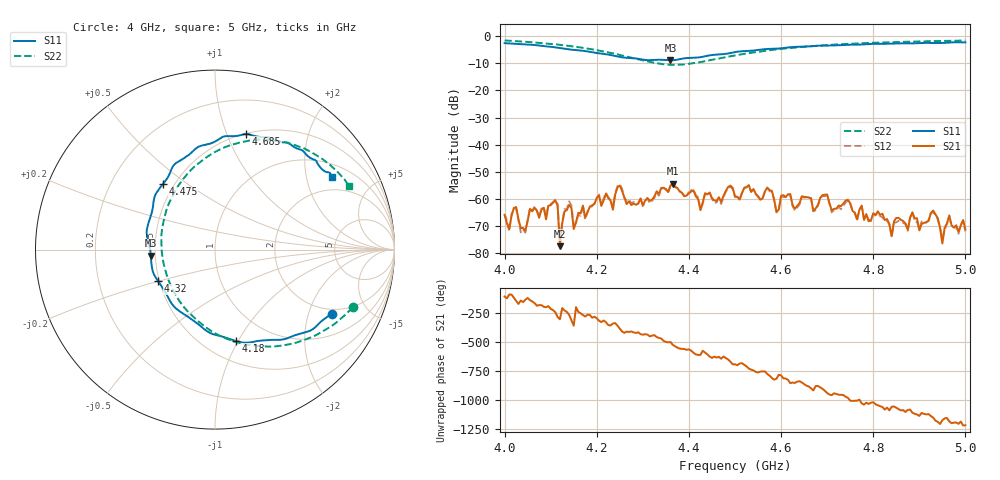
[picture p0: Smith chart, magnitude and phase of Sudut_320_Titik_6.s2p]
# Hz S RI R 50
! CMT, C1220, 16058040, 17.2.0/1
! Date: 15/08/2018 12:14:18
! Data: Format (Calibration Info)
! Freq  S11: Re/Im (F2)  S21: Re/Im (F2)  S12: Re/Im (F2)  S22: Re/Im (F2)
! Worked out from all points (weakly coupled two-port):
!   201 points, 4 GHz to 5 GHz, reference 50 ohm
!   highest |S21| = -54.32 dB at 4.365 GHz (marker M1); lowest = -77.3 dB at 4.12 GHz (marker M2)
!   lowest |S11| = -8.9 dB at 4.36 GHz (marker M3), VSWR 2.12, Z = 23.6 - j1.88 ohm
!   |S11| at or under -10 dB: nowhere
!   |S22| runs from -10.6 to -1.6 dB; largest |S21 - S12| = 0.00015
!   S11 on the Smith chart (normalised r, x): 4 GHz: 1.80, -2.86; 4.18 GHz: 0.70, -0.98; 4.32 GHz: 0.49, -0.20; 4.475 GHz: 0.44, +0.40; 4.685 GHz: 0.50, +1.17; 5 GHz: 1.46, +2.85
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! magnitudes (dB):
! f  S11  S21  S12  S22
! 4 GHz  -2.6  -65.8  -65.4  -1.6
! 4.045 GHz  -3.0  -71.7  -72.4  -2.1
! 4.055 GHz  -3.1  -63.6  -63.5  -2.2
! 4.11 GHz  -4.1  -60.5  -60.2  -3.0
! 4.12 GHz  -4.4  -77.3  -75.7  -3.2
! 4.13 GHz  -4.6  -64.5  -63.6  -3.4
! 4.15 GHz  -5.1  -71.0  -69.3  -3.8
! 4.17 GHz  -5.4  -62.4  -63.0  -4.3
! 4.18 GHz  -5.6  -64.8  -64.4  -4.6
! 4.235 GHz  -7.1  -63.9  -62.9  -6.4
! 4.25 GHz  -7.7  -55.0  -54.6  -6.9
! 4.32 GHz  -8.8  -60.2  -60.7  -9.7
! 4.335 GHz  -8.7  -58.1  -58.7  -10.1
! 4.36 GHz  -8.9  -55.1  -54.9  -10.6
! 4.365 GHz  -8.9  -54.3  -54.0  -10.6
! 4.425 GHz  -7.8  -64.1  -63.6  -9.6
! 4.475 GHz  -6.6  -58.8  -59.5  -7.9
! 4.5 GHz  -5.9  -58.9  -59.3  -7.1
! 4.67 GHz  -3.7  -64.4  -64.5  -3.6
! 4.685 GHz  -3.5  -59.5  -59.9  -3.5
! 4.835 GHz  -2.8  -69.2  -69.4  -2.3
! 5 GHz  -2.3  -71.1  -71.9  -1.6
